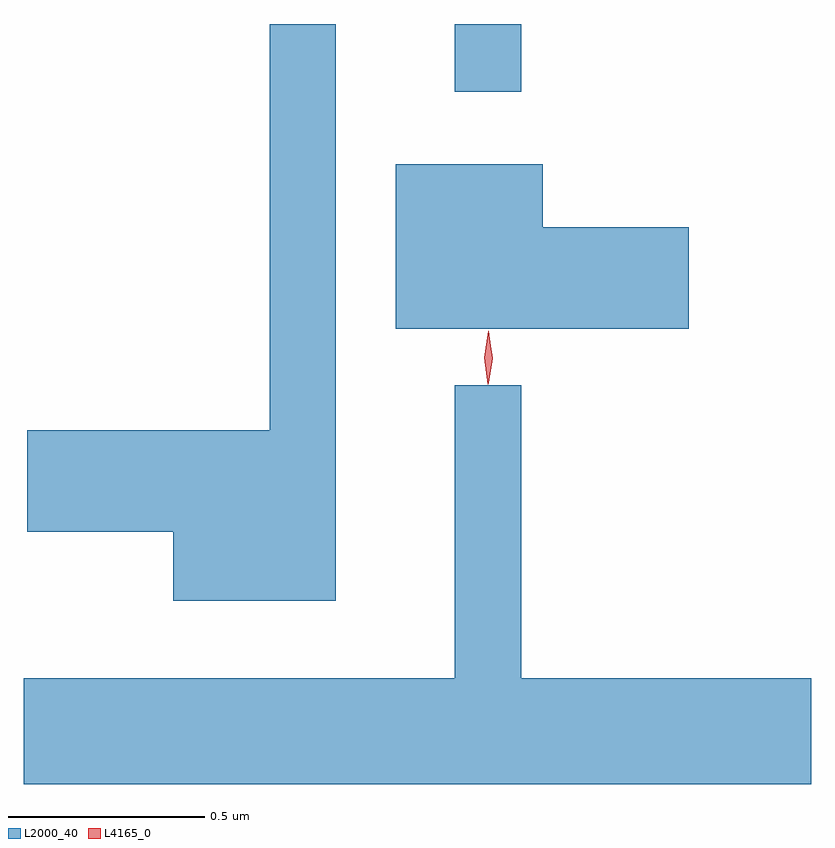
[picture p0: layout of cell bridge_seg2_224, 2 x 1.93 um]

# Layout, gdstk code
import gdstk
lib = gdstk.Library(unit=1e-6, precision=1e-09)
def R(c, l, rs):  # rectangles x0, y0, x1, y1
    for r in rs: c.add(gdstk.rectangle(r[:2], r[2:], *l))
def P(c, l, *ps):  # polygons
    for p in ps: c.add(gdstk.Polygon(p, *l))
L2000_40 = (2000, 40)
L4165_0 = (4165, 0)

bridge_seg2_224 = lib.new_cell('bridge_seg2_224')
R(bridge_seg2_224, L2000_40, [(588.601,1081.153,588.769,1081.325)])
P(bridge_seg2_224, L2000_40, [(588.299,1081.325),(588.131,1081.325),(588.131,1080.294),(587.516,1080.294),(587.516,1080.036),(587.886,1080.036),(587.886,1079.861),(588.299,1079.861)],
  [(589.194,1080.809),(588.824,1080.809),(588.824,1080.969),(588.451,1080.969),(588.451,1080.551),(589.194,1080.551)],
  [(589.506,1079.664),(588.769,1079.664),(588.769,1080.408),(588.601,1080.408),(588.601,1079.664),(587.506,1079.664),(587.506,1079.396),(589.506,1079.396)])
P(bridge_seg2_224, L4165_0, [(588.687,1080.413),(588.686,1080.414),(588.677,1080.476),(588.686,1080.54),(588.687,1080.54),(588.687,1080.54),(588.697,1080.476),(588.687,1080.414)],
  [(588.684,1080.41),(588.676,1080.478),(588.686,1080.545),(588.687,1080.546),(588.687,1080.545),(588.696,1080.478),(588.686,1080.41),(588.685,1080.41)])

lib.write_gds('bridge_seg2_224.gds')
